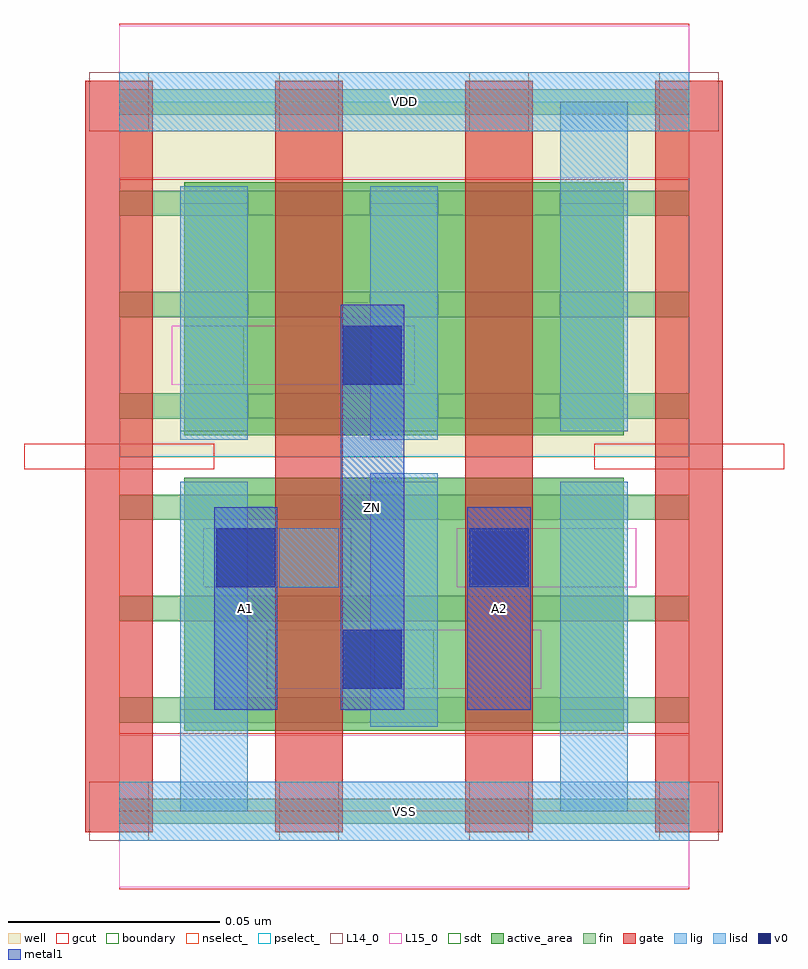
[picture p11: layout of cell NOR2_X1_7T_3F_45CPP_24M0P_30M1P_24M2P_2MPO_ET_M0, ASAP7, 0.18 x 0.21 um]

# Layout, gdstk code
import gdstk
lib = gdstk.Library(unit=1e-6, precision=2.5e-10)
def R(c, l, rs):  # rectangles x0, y0, x1, y1
    for r in rs: c.add(gdstk.rectangle(r[:2], r[2:], *l))
def A(c, l, x, y, w, h, nx, ny, dx, dy):  # array of equal rectangles
    R(c, l, [(x+i*dx, y+j*dy, x+i*dx+w, y+j*dy+h) for i in range(nx) for j in range(ny)])
well = (1, 0)
fin = (2, 0)
gate = (7, 0)
gcut = (10, 0)
active_area = (11, 0)
nselect_ = (12, 0)
pselect_ = (13, 0)
L14_0 = (14, 0)
L15_0 = (15, 0)
lig = (16, 0)
lisd = (17, 0)
v0 = (18, 0)
metal1 = (19, 0)
sdt = (88, 0)
boundary = (100, 0)

nor2_x1_7t_3f_45cpp_24m0 = lib.new_cell('NOR2_X1_7T_3F_45CPP_24M0P_30M1P_24M2P_2MPO_ET_M0')
R(nor2_x1_7t_3f_45cpp_24m0, well, [(0,0.084,0.135,0.168)])
A(nor2_x1_7t_3f_45cpp_24m0, fin, 0, -0.003, 0.135, 0.006, 1, 8, 0, 0.024)
A(nor2_x1_7t_3f_45cpp_24m0, gate, -0.008, -0.005, 0.016, 0.178, 4, 1, 0.045, 0)
R(nor2_x1_7t_3f_45cpp_24m0, gcut, [(0,-0.0185,0.135,0.0185), (-0.0225,0.081,0.0225,0.087), (0.1125,0.081,0.1575,0.087), (0,0.1495,0.135,0.1865)])
R(nor2_x1_7t_3f_45cpp_24m0, active_area, [(0.0155,0.019,0.0745,0.079), (0.0605,0.019,0.1195,0.079), (0.0155,0.089,0.0745,0.149), (0.0605,0.089,0.1195,0.149)])
R(nor2_x1_7t_3f_45cpp_24m0, nselect_, [(0,0,0.135,0.084)])
R(nor2_x1_7t_3f_45cpp_24m0, pselect_, [(0,0.084,0.135,0.168)])
A(nor2_x1_7t_3f_45cpp_24m0, L14_0, -0.007, -0.007, 0.014, 0.014, 4, 2, 0.045, 0.168)
R(nor2_x1_7t_3f_45cpp_24m0, L14_0, [(0.0605,0.029,0.0745,0.043), (0.038,0.053,0.052,0.067), (0.083,0.053,0.097,0.067), (0.0155,0.101,0.0295,0.115)])
R(nor2_x1_7t_3f_45cpp_24m0, L15_0, [(0,-0.018,0.135,0.018), (0.035,0.029,0.1,0.043), (0.02,0.053,0.055,0.067), (0.08,0.053,0.1225,0.067), (0.0125,0.101,0.07,0.115), (0,0.15,0.135,0.186)])
R(nor2_x1_7t_3f_45cpp_24m0, lig, [(0,-0.007,0.135,0.007), (0.038,0.053,0.052,0.067), (0.083,0.053,0.097,0.067), (0,0.161,0.135,0.175)])
R(nor2_x1_7t_3f_45cpp_24m0, lisd, [(0.0145,0,0.0305,0.078), (0.1045,0,0.1205,0.078), (0.0595,0.02,0.0755,0.08), (0.0145,0.088,0.0305,0.148), (0.0595,0.088,0.0755,0.148), (0.1045,0.09,0.1205,0.168)])
R(nor2_x1_7t_3f_45cpp_24m0, v0, [(0.053,0.029,0.067,0.043), (0.023,0.053,0.037,0.067), (0.083,0.053,0.097,0.067), (0.053,0.101,0.067,0.115)])
R(nor2_x1_7t_3f_45cpp_24m0, metal1, [(0.0225,0.024,0.0375,0.072), (0.0525,0.024,0.0675,0.12), (0.0825,0.024,0.0975,0.072)])
A(nor2_x1_7t_3f_45cpp_24m0, sdt, 0.0145, 0.024, 0.016, 0.054, 3, 2, 0.045, 0.066)
R(nor2_x1_7t_3f_45cpp_24m0, boundary, [(0,0,0.135,0.168)])
nor2_x1_7t_3f_45cpp_24m0.add(gdstk.Label('A2', (0.09,0.048), layer=19, texttype=251))
nor2_x1_7t_3f_45cpp_24m0.add(gdstk.Label('A1', (0.03,0.048), layer=19, texttype=251))
nor2_x1_7t_3f_45cpp_24m0.add(gdstk.Label('ZN', (0.06,0.072), layer=19, texttype=251))
nor2_x1_7t_3f_45cpp_24m0.add(gdstk.Label('VDD', (0.0675,0.168), layer=15, texttype=251))
nor2_x1_7t_3f_45cpp_24m0.add(gdstk.Label('VSS', (0.0675,0), layer=15, texttype=251))
nor2_x1_7t_3f_45cpp_24m0.add(gdstk.Label('VDD', (0.0675,0.168), layer=1, texttype=251))
nor2_x1_7t_3f_45cpp_24m0.add(gdstk.Label('VSS', (0.0675,0), layer=3, texttype=251))

lib.write_gds('NOR2_X1_7T_3F_45CPP_24M0P_30M1P_24M2P_2MPO_ET_M0.gds')
